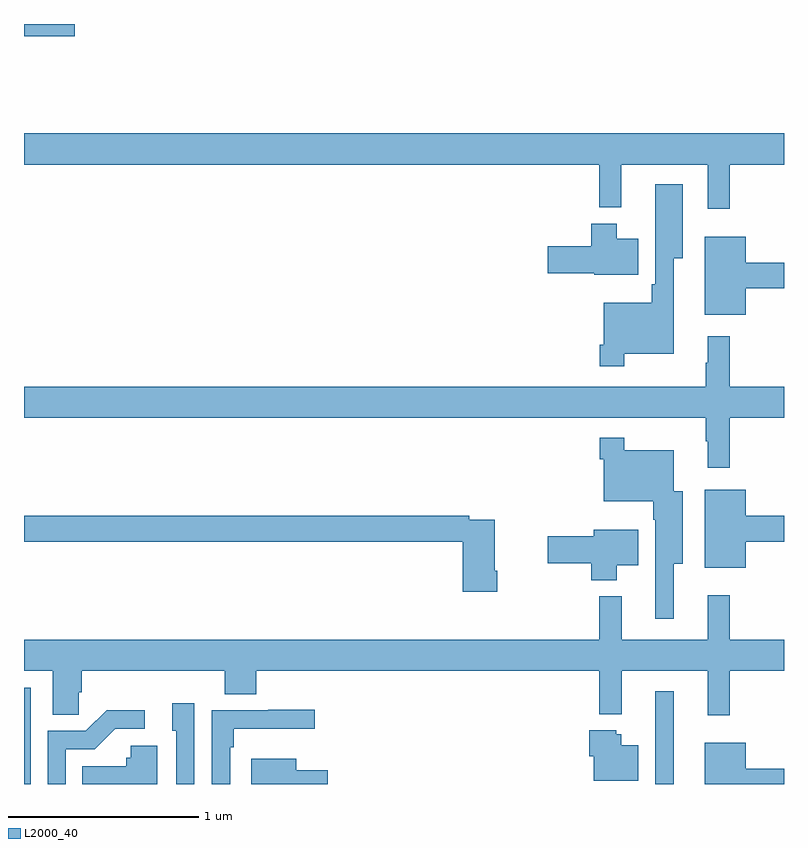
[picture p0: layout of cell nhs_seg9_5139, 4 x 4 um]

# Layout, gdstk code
import gdstk
lib = gdstk.Library(unit=1e-6, precision=1e-09)
def R(c, l, rs):  # rectangles x0, y0, x1, y1
    for r in rs: c.add(gdstk.rectangle(r[:2], r[2:], *l))
def P(c, l, *ps):  # polygons
    for p in ps: c.add(gdstk.Polygon(p, *l))
L2000_40 = (2000, 40)

nhs_seg9_5139 = lib.new_cell('nhs_seg9_5139')
R(nhs_seg9_5139, L2000_40, [(409,1186.5,409.035,1187.007), (412.323,1186.5,412.42,1186.987), (409,1190.435,409.267,1190.5)])
P(nhs_seg9_5139, L2000_40, [(412.715,1189.76),(413,1189.76),(413,1189.924),(409,1189.924),(409,1189.76),(412.027,1189.76),(412.027,1189.535),(412.144,1189.535),(412.144,1189.76),(412.598,1189.76),(412.598,1189.527),(412.715,1189.527)],
  [(412.159,1188.764),(412.42,1188.764),(412.42,1189.268),(412.468,1189.268),(412.468,1189.657),(412.322,1189.657),(412.322,1189.129),(412.303,1189.129),(412.303,1189.033),(412.05,1189.033),(412.05,1188.811),(412.03,1188.811),(412.03,1188.699),(412.159,1188.699)],
  [(412.234,1189.369),(412.12,1189.369),(412.12,1189.45),(411.986,1189.45),(411.986,1189.329),(411.756,1189.329),(411.756,1189.187),(412.002,1189.187),(412.002,1189.181),(412.234,1189.181)],
  [(412.798,1189.108),(413,1189.108),(413,1189.244),(412.798,1189.244),(412.798,1189.381),(412.583,1189.381),(412.583,1188.971),(412.798,1188.971)],
  [(412.715,1188.428),(413,1188.428),(413,1188.592),(412.715,1188.592),(412.715,1188.856),(412.598,1188.856),(412.598,1188.716),(412.587,1188.716),(412.587,1188.592),(409,1188.592),(409,1188.428),(412.587,1188.428),(412.587,1188.305),(412.598,1188.305),(412.598,1188.165),(412.715,1188.165)],
  [(412.421,1187.66),(412.468,1187.66),(412.468,1188.04),(412.42,1188.04),(412.42,1188.256),(412.159,1188.256),(412.159,1188.322),(412.03,1188.322),(412.03,1188.209),(412.05,1188.209),(412.05,1187.987),(412.311,1187.987),(412.311,1187.891),(412.323,1187.891),(412.323,1187.37),(412.421,1187.37)],
  [(412.798,1187.776),(413,1187.776),(413,1187.912),(412.798,1187.912),(412.798,1188.049),(412.583,1188.049),(412.583,1187.639),(412.798,1187.639)],
  [(411.491,1187.623),(411.478,1187.623),(411.478,1187.892),(411.344,1187.892),(411.344,1187.912),(409,1187.912),(409,1187.776),(411.308,1187.776),(411.308,1187.511),(411.491,1187.511)],
  [(412.12,1187.651),(412.234,1187.651),(412.234,1187.839),(411.998,1187.839),(411.998,1187.804),(411.756,1187.804),(411.756,1187.662),(411.986,1187.662),(411.986,1187.573),(412.12,1187.573)],
  [(412.715,1187.096),(413,1187.096),(413,1187.26),(412.715,1187.26),(412.715,1187.494),(412.598,1187.494),(412.598,1187.26),(412.145,1187.26),(412.145,1187.488),(412.027,1187.488),(412.027,1187.26),(409,1187.26),(409,1187.096),(409.151,1187.096),(409.151,1186.864),(409.289,1186.864),(409.289,1186.984),(409.304,1186.984),(409.304,1187.096),(410.057,1187.096),(410.057,1186.972),(410.222,1186.972),(410.222,1187.096),(412.027,1187.096),(412.027,1186.868),(412.145,1186.868),(412.145,1187.096),(412.598,1187.096),(412.598,1186.863),(412.715,1186.863)],
  [(409.896,1186.924),(409.781,1186.924),(409.781,1186.779),(409.8,1186.779),(409.8,1186.5),(409.896,1186.5)],
  [(410.085,1186.694),(410.105,1186.694),(410.105,1186.79),(410.53,1186.79),(410.53,1186.891),(410.285,1186.891),(410.285,1186.887),(409.989,1186.887),(409.989,1186.5),(410.085,1186.5)],
  [(409.221,1186.683),(409.372,1186.683),(409.48,1186.791),(409.636,1186.791),(409.636,1186.889),(409.436,1186.889),(409.326,1186.779),(409.125,1186.779),(409.125,1186.5),(409.221,1186.5)],
  [(412.234,1186.705),(412.144,1186.705),(412.144,1186.761),(412.116,1186.761),(412.116,1186.783),(411.974,1186.783),(411.974,1186.647),(411.998,1186.647),(411.998,1186.517),(412.234,1186.517)],
  [(413,1186.58),(412.798,1186.58),(412.798,1186.717),(412.583,1186.717),(412.583,1186.5),(413,1186.5)],
  [(409.702,1186.702),(409.562,1186.702),(409.562,1186.638),(409.537,1186.638),(409.537,1186.594),(409.306,1186.594),(409.306,1186.5),(409.702,1186.5)],
  [(410.599,1186.573),(410.434,1186.573),(410.434,1186.633),(410.195,1186.633),(410.195,1186.5),(410.599,1186.5)])

lib.write_gds('nhs_seg9_5139.gds')
